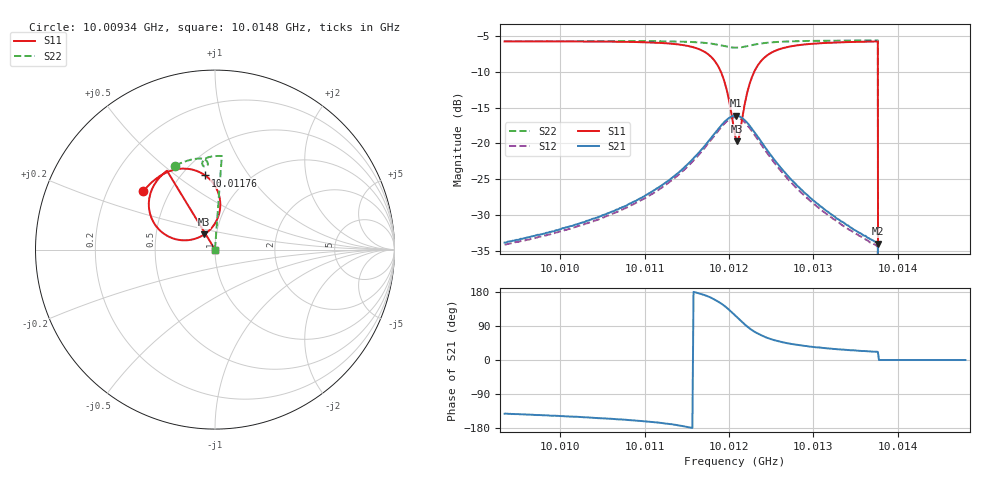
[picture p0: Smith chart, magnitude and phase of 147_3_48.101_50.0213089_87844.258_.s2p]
#  HZ  S  RI  R  50.00
! Rohde & Schwarz Vector Network Analyzer
! Rohde-Schwarz,ZNB20-2Port,1311601062101988,3.16
! Created: UTC 12/23/2023, 3:49:23 AM
! freq[Hz]  re:S11  im:S11  re:S21  im:S21  re:S12  im:S12  re:S22  im:S22
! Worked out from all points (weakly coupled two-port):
!   401 points, 10.00934 GHz to 10.0148 GHz, reference 50 ohm
!   highest |S21| = -16.12 dB at 10.01209 GHz (marker M1); lowest = -34.0 dB at 10.01377 GHz (marker M2)
!   lowest |S11| = -19.7 dB at 10.0121 GHz (marker M3), VSWR 1.23, Z = 43.8 + j7.48 ohm
!   |S11| at or under -10 dB: 10.0119 GHz to 10.0123 GHz (396.1 kHz wide, 0.00396 % of centre); 10.01377 GHz to end of sweep
!   |S22| runs from - to -5.6 dB; largest |S21 - S12| = 0.0078
!   S11 on the Smith chart (normalised r, x): 10.00934 GHz: 0.36, +0.32; 10.01176 GHz: 0.64, +0.64; 10.0148 GHz: 1.00, +0.00
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1.0009341e10  -0.3986 0.3251  -0.016 -0.0126  -0.0148 -0.0131  -0.2208 0.4681
1.0010256e10  -0.3438 0.3823  -0.0244 -0.0138  -0.023 -0.0143  -0.1647 0.4918
1.0011171e10  -0.2438 0.4402  -0.0479 -0.0126  -0.0456 -0.0142  -0.101 0.5068
1.0011499e10  -0.166 0.451  -0.0703 -0.00464  -0.0675 -0.00821  -0.0736 0.5069
1.0011758e10  -0.0547 0.4133  -0.1011 0.0227  -0.0992 0.0171  -0.0494 0.497
1.0011854e10  -0.00351 0.3603  -0.112 0.0485  -0.1112 0.0416  -0.0421 0.4881
1.0011936e10  0.0269 0.2819  -0.1136 0.0802  -0.1142 0.0727  -0.0397 0.4775
1.001199e10  0.0261 0.2135  -0.1049 0.1056  -0.1068 0.0984  -0.0419 0.4699
1.0012072e10  -0.0276 0.1109  -0.073 0.1381  -0.0764 0.1318  -0.0517 0.4626
1.0012086e10  -0.0431 0.0968  -0.0658 0.1418  -0.0692 0.1356  -0.0538 0.4623
1.00121e10  -0.0595 0.0845  -0.0585 0.1447  -0.0618 0.1386  -0.0558 0.4623
1.0012127e10  -0.0961 0.0655  -0.0432 0.148  -0.0465 0.1423  -0.06 0.4632
1.0012195e10  -0.1908 0.0527  -0.00598 0.1437  -0.0108 0.1386  -0.0681 0.4694
1.001225e10  -0.2556 0.0713  0.0171 0.1308  0.012 0.1267  -0.0709 0.4766
1.0012373e10  -0.3395 0.1478  0.0421 0.096  0.0371 0.0932  -0.0681 0.4925
1.0012591e10  -0.3685 0.2631  0.0459 0.0534  0.0415 0.0527  -0.0507 0.5086
1.0012987e10  -0.3371 0.3634  0.0334 0.0231  0.0306 0.0236  -0.0181 0.5189
1.0013739e10  -0.2699 0.4375  0.0191 0.00754  0.0178 0.00828  0.0361 0.5214
1.0013766e10  -0.2677 0.4394  0.0186 0.00732  0.0174 0.00803  0.038 0.5214
1.0013807e10  0 0  0 0  0 0  0 0
1.0013903e10  0 0  0 0  0 0  0 0
1.0014804e10  0 0  0 0  0 0  0 0
